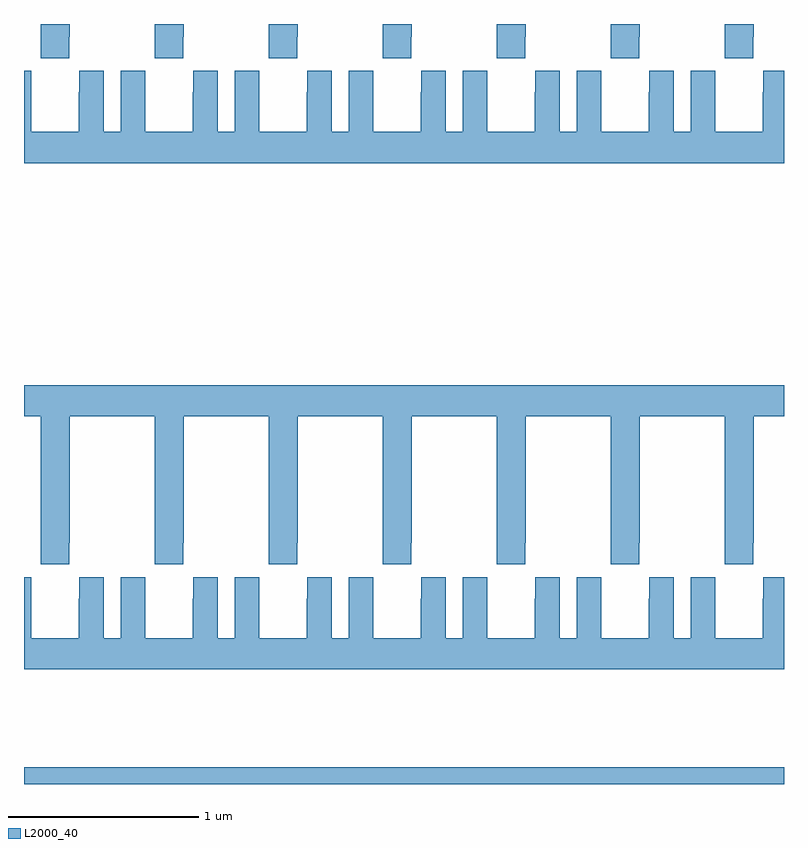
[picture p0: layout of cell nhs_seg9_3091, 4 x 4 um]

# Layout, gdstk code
import gdstk
lib = gdstk.Library(unit=1e-6, precision=1e-09)
def R(c, l, rs):  # rectangles x0, y0, x1, y1
    for r in rs: c.add(gdstk.rectangle(r[:2], r[2:], *l))
def P(c, l, *ps):  # polygons
    for p in ps: c.add(gdstk.Polygon(p, *l))
L2000_40 = (2000, 40)

nhs_seg9_3091 = lib.new_cell('nhs_seg9_3091')
R(nhs_seg9_3091, L2000_40, [(289,1178.5,293,1178.588)])
P(nhs_seg9_3091, L2000_40, [(289.239,1182.433),(289.242,1182.433),(289.242,1182.5),(289.087,1182.5),(289.087,1182.433),(289.089,1182.433),(289.089,1182.321),(289.239,1182.321)],
  [(292.839,1182.433),(292.842,1182.433),(292.842,1182.5),(292.687,1182.5),(292.687,1182.433),(292.689,1182.433),(292.689,1182.321),(292.839,1182.321)],
  [(289.839,1182.433),(289.842,1182.433),(289.842,1182.5),(289.687,1182.5),(289.687,1182.433),(289.689,1182.433),(289.689,1182.321),(289.839,1182.321)],
  [(292.239,1182.433),(292.242,1182.433),(292.242,1182.5),(292.087,1182.5),(292.087,1182.433),(292.089,1182.433),(292.089,1182.321),(292.239,1182.321)],
  [(291.639,1182.433),(291.642,1182.433),(291.642,1182.5),(291.487,1182.5),(291.487,1182.433),(291.489,1182.433),(291.489,1182.321),(291.639,1182.321)],
  [(291.039,1182.433),(291.042,1182.433),(291.042,1182.5),(290.887,1182.5),(290.887,1182.433),(290.889,1182.433),(290.889,1182.321),(291.039,1182.321)],
  [(290.439,1182.433),(290.442,1182.433),(290.442,1182.5),(290.287,1182.5),(290.287,1182.433),(290.289,1182.433),(290.289,1182.321),(290.439,1182.321)],
  [(290.49,1182.253),(290.49,1182.14),(290.489,1182.14),(290.489,1181.932),(290.239,1181.932),(290.239,1182.14),(290.238,1182.14),(290.238,1182.253),(290.108,1182.253),(290.108,1181.932),(290.02,1181.932),(290.02,1182.253),(289.89,1182.253),(289.89,1182.14),(289.889,1182.14),(289.889,1181.932),(289.639,1181.932),(289.639,1182.14),(289.638,1182.14),(289.638,1182.253),(289.508,1182.253),(289.508,1181.932),(289.42,1181.932),(289.42,1182.253),(289.29,1182.253),(289.29,1182.14),(289.289,1182.14),(289.289,1181.932),(289.039,1181.932),(289.039,1182.14),(289.038,1182.14),(289.038,1182.253),(289,1182.253),(289,1181.768),(293,1181.768),(293,1182.253),(292.89,1182.253),(292.89,1182.14),(292.889,1182.14),(292.889,1181.932),(292.639,1181.932),(292.639,1182.14),(292.638,1182.14),(292.638,1182.253),(292.508,1182.253),(292.508,1181.932),(292.42,1181.932),(292.42,1182.253),(292.29,1182.253),(292.29,1182.14),(292.289,1182.14),(292.289,1181.932),(292.039,1181.932),(292.039,1182.14),(292.038,1182.14),(292.038,1182.253),(291.908,1182.253),(291.908,1181.932),(291.82,1181.932),(291.82,1182.253),(291.69,1182.253),(291.69,1182.14),(291.689,1182.14),(291.689,1181.932),(291.439,1181.932),(291.439,1182.14),(291.438,1182.14),(291.438,1182.253),(291.308,1182.253),(291.308,1181.932),(291.22,1181.932),(291.22,1182.253),(291.09,1182.253),(291.09,1182.14),(291.089,1182.14),(291.089,1181.932),(290.839,1181.932),(290.839,1182.14),(290.838,1182.14),(290.838,1182.253),(290.708,1182.253),(290.708,1181.932),(290.62,1181.932),(290.62,1182.253)],
  [(289,1180.436),(289.087,1180.436),(289.087,1179.769),(289.089,1179.769),(289.089,1179.657),(289.239,1179.657),(289.239,1179.769),(289.242,1179.769),(289.242,1180.436),(289.687,1180.436),(289.687,1179.769),(289.689,1179.769),(289.689,1179.657),(289.839,1179.657),(289.839,1179.769),(289.842,1179.769),(289.842,1180.436),(290.287,1180.436),(290.287,1179.769),(290.289,1179.769),(290.289,1179.657),(290.439,1179.657),(290.439,1179.769),(290.442,1179.769),(290.442,1180.436),(290.887,1180.436),(290.887,1179.769),(290.889,1179.769),(290.889,1179.657),(291.039,1179.657),(291.039,1179.769),(291.042,1179.769),(291.042,1180.436),(291.487,1180.436),(291.487,1179.769),(291.489,1179.769),(291.489,1179.657),(291.639,1179.657),(291.639,1179.769),(291.642,1179.769),(291.642,1180.436),(292.087,1180.436),(292.087,1179.769),(292.089,1179.769),(292.089,1179.657),(292.239,1179.657),(292.239,1179.769),(292.242,1179.769),(292.242,1180.436),(292.687,1180.436),(292.687,1179.769),(292.689,1179.769),(292.689,1179.657),(292.839,1179.657),(292.839,1179.769),(292.842,1179.769),(292.842,1180.436),(293,1180.436),(293,1180.6),(289,1180.6)],
  [(290.238,1179.476),(290.238,1179.589),(290.108,1179.589),(290.108,1179.268),(290.02,1179.268),(290.02,1179.589),(289.89,1179.589),(289.89,1179.476),(289.889,1179.476),(289.889,1179.268),(289.639,1179.268),(289.639,1179.476),(289.638,1179.476),(289.638,1179.589),(289.508,1179.589),(289.508,1179.268),(289.42,1179.268),(289.42,1179.589),(289.29,1179.589),(289.29,1179.476),(289.289,1179.476),(289.289,1179.268),(289.039,1179.268),(289.039,1179.476),(289.038,1179.476),(289.038,1179.589),(289,1179.589),(289,1179.104),(293,1179.104),(293,1179.589),(292.89,1179.589),(292.89,1179.476),(292.889,1179.476),(292.889,1179.268),(292.639,1179.268),(292.639,1179.476),(292.638,1179.476),(292.638,1179.589),(292.508,1179.589),(292.508,1179.268),(292.42,1179.268),(292.42,1179.589),(292.29,1179.589),(292.29,1179.476),(292.289,1179.476),(292.289,1179.268),(292.039,1179.268),(292.039,1179.476),(292.038,1179.476),(292.038,1179.589),(291.908,1179.589),(291.908,1179.268),(291.82,1179.268),(291.82,1179.589),(291.69,1179.589),(291.69,1179.476),(291.689,1179.476),(291.689,1179.268),(291.439,1179.268),(291.439,1179.476),(291.438,1179.476),(291.438,1179.589),(291.308,1179.589),(291.308,1179.268),(291.22,1179.268),(291.22,1179.589),(291.09,1179.589),(291.09,1179.476),(291.089,1179.476),(291.089,1179.268),(290.839,1179.268),(290.839,1179.476),(290.838,1179.476),(290.838,1179.589),(290.708,1179.589),(290.708,1179.268),(290.62,1179.268),(290.62,1179.589),(290.49,1179.589),(290.49,1179.476),(290.489,1179.476),(290.489,1179.268),(290.239,1179.268),(290.239,1179.476)])

lib.write_gds('nhs_seg9_3091.gds')
